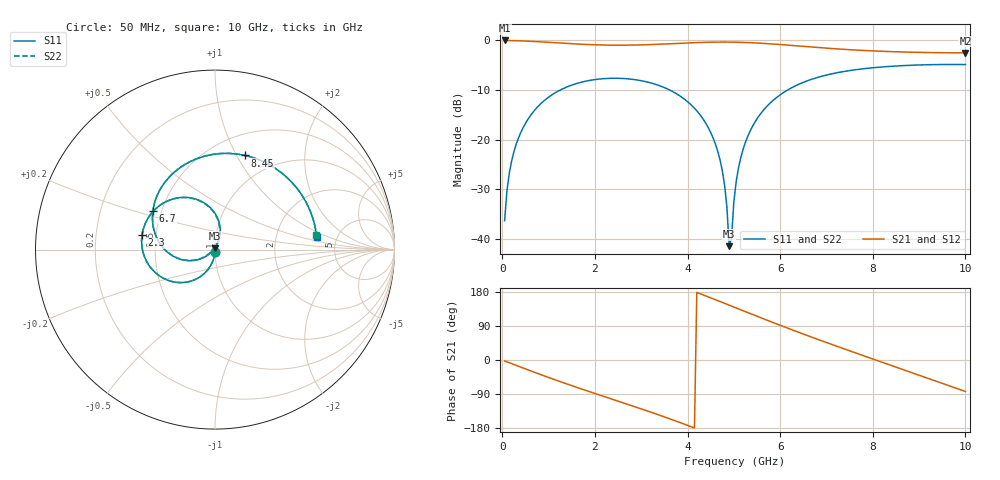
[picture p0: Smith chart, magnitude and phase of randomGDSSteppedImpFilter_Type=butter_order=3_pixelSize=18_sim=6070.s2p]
! freq	dB(S11)	phase(S11)	dB(S12)	phase(S12)
!  dB(S21)	phase(S21)	dB(S22)	phase(S22)
!S-par simulation data
#  GHz  S  DB  R 50
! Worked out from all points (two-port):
!   200 points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, 50 MHz to 10 GHz, reference 50 ohm
!   highest |S21| = 0.00 dB at 50 MHz (marker M1); lowest = -2.5 dB at 10 GHz (marker M2)
!   |S21| within 3 dB of the highest: start of sweep to end of sweep
!   lowest |S11| = -41.5 dB at 4.9 GHz (marker M3), VSWR 1.02, Z = 49.8 + j0.821 ohm
!   |S11| at or under -10 dB: start of sweep to 1.253 GHz; 3.613 GHz to 6.162 GHz (2.549 GHz wide, 52.1 % of centre)
!   |S22| runs from -39.6 to -4.8 dB; largest |S21 - S12| = 0
!   S11 on the Smith chart (normalised r, x): 50 MHz: 1.00, -0.03; 2.3 GHz: 0.42, +0.08; 6.7 GHz: 0.45, +0.23; 8.45 GHz: 0.72, +1.08; 10 GHz: 3.49, +0.75
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0.05  -36.38 -92.3  -0.00 -2.4  -0.00 -2.4  -36.38 -92.3
0.1  -30.37 -94.9  -0.01 -4.8  -0.01 -4.8  -30.37 -94.9
0.2  -24.39 -99.9  -0.03 -9.5  -0.03 -9.5  -24.39 -99.9
0.5  -16.75 -114.1  -0.12 -23.5  -0.12 -23.5  -16.74 -114.1
1.1  -10.81 -141.1  -0.44 -50.5  -0.44 -50.5  -10.81 -141.0
1.75  -8.33 -168.8  -0.79 -78.1  -0.79 -78.1  -8.33 -168.6
2.3  -7.65 168.9  -0.95 -100.4  -0.95 -100.4  -7.65 169.1
3.4  -9.15 123.7  -0.76 -145.8  -0.76 -145.8  -9.15 124.2
4.1  -13.21 93.1  -0.47 -177.0  -0.47 -177.0  -13.20 93.9
4.55  -19.64 73.5  -0.35 161.7  -0.35 161.7  -19.62 75.2
4.8  -29.18 67.7  -0.33 149.6  -0.33 149.6  -29.05 72.5
4.9  -41.52 101.1  -0.33 144.7  -0.33 144.7  -39.56 111.1
4.95  -39.82 -162.8  -0.34 142.3  -0.34 142.3  -38.37 -173.9
5.05  -28.52 -142.3  -0.36 137.4  -0.36 137.4  -28.39 -146.4
5.25  -20.56 -146.9  -0.41 127.6  -0.41 127.6  -20.53 -148.4
5.55  -15.15 -159.8  -0.54 113.0  -0.54 113.0  -15.14 -160.5
6.1  -10.35 174.9  -0.90 86.9  -0.90 86.9  -10.35 174.7
6.7  -7.78 147.8  -1.34 59.4  -1.34 59.4  -7.77 147.9
7.5  -6.08 112.8  -1.87 24.3  -1.87 24.3  -6.08 113.2
8.35  -5.25 76.6  -2.24 -12.3  -2.24 -12.3  -5.25 77.1
8.45  -5.19 72.3  -2.27 -16.6  -2.27 -16.6  -5.19 72.9
10  -4.87 7.3  -2.51 -83.0  -2.51 -83.0  -4.87 8.2
